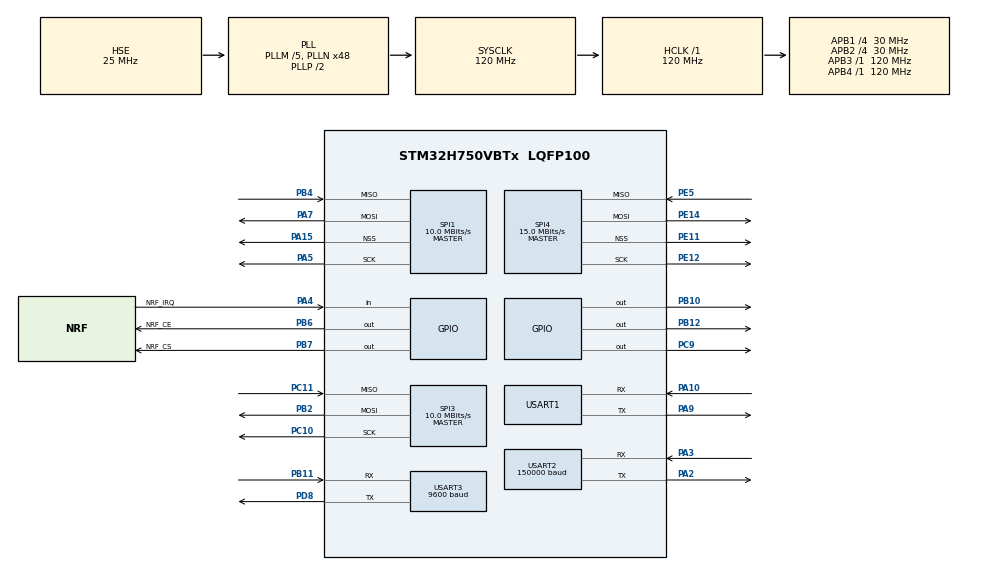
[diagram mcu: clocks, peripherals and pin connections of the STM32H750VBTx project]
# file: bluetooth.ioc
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Mcu.Family=STM32H7
Mcu.Name=STM32H750VBTx
Mcu.Package=LQFP100
NVIC.PriorityGroup=NVIC_PRIORITYGROUP_4
NVIC.USART2_IRQn=true\:0\:0\:false\:false\:true\:true\:true\:true
NVIC.USART3_IRQn=true\:0\:0\:false\:false\:true\:true\:true\:true
PA10.Mode=Asynchronous
PA10.Signal=USART1_RX
PA13\ (JTMS/SWDIO).Mode=Serial_Wire
PA13\ (JTMS/SWDIO).Signal=DEBUG_JTMS-SWDIO
PA14\ (JTCK/SWCLK).Mode=Serial_Wire
PA14\ (JTCK/SWCLK).Signal=DEBUG_JTCK-SWCLK
PA15\ (JTDI).Mode=NSS_Signal_Hard_Output
PA15\ (JTDI).Signal=SPI1_NSS
PA2.Mode=Asynchronous
PA2.Signal=USART2_TX
PA3.Mode=Asynchronous
PA3.Signal=USART2_RX
PA4.GPIO_Label=NRF_IRQ
PA4.GPIO_PuPd=GPIO_PULLUP
PA4.Signal=GPIO_Input
PA5.GPIO_Speed=GPIO_SPEED_FREQ_LOW
PA5.Mode=Full_Duplex_Master
PA5.Signal=SPI1_SCK
PA7.GPIO_Speed=GPIO_SPEED_FREQ_LOW
PA7.Mode=Full_Duplex_Master
PA7.Signal=SPI1_MOSI
PA9.Mode=Asynchronous
PA9.Signal=USART1_TX
PB10.GPIO_ModeDefaultOutputPP=GPIO_MODE_OUTPUT_OD
PB10.GPIO_PuPd=GPIO_PULLUP
PB10.Signal=GPIO_Output
PB11.Mode=Asynchronous
PB11.Signal=USART3_RX
PB12.GPIO_ModeDefaultOutputPP=GPIO_MODE_OUTPUT_OD
PB12.GPIO_PuPd=GPIO_PULLUP
PB12.Signal=GPIO_Output
PB2.Mode=Full_Duplex_Master
PB2.Signal=SPI3_MOSI
PB4\ (NJTRST).Mode=Full_Duplex_Master
PB4\ (NJTRST).Signal=SPI1_MISO
PB6.GPIO_Label=NRF_CE
PB6.GPIO_PuPd=GPIO_PULLUP
PB6.GPIO_Speed=GPIO_SPEED_FREQ_MEDIUM
PB6.Signal=GPIO_Output
PB7.GPIO_Label=NRF_CS
PB7.GPIO_PuPd=GPIO_PULLUP
PB7.GPIO_Speed=GPIO_SPEED_FREQ_MEDIUM
PB7.Signal=GPIO_Output
PC10.Mode=Full_Duplex_Master
PC10.Signal=SPI3_SCK
PC11.Mode=Full_Duplex_Master
PC11.Signal=SPI3_MISO
PC9.GPIO_ModeDefaultOutputPP=GPIO_MODE_OUTPUT_PP
PC9.GPIO_PuPd=GPIO_NOPULL
PC9.Signal=GPIO_Output
PD8.Mode=Asynchronous
PD8.Signal=USART3_TX
PE11.Mode=NSS_Signal_Hard_Output
PE11.Signal=SPI4_NSS
PE12.Mode=Full_Duplex_Master
PE12.Signal=SPI4_SCK
PE14.Mode=Full_Duplex_Master
PE14.Signal=SPI4_MOSI
PE5.Mode=Full_Duplex_Master
PE5.Signal=SPI4_MISO
PH0-OSC_IN\ (PH0).Mode=HSE-External-Oscillator
PH0-OSC_IN\ (PH0).Signal=RCC_OSC_IN
PH1-OSC_OUT\ (PH1).Mode=HSE-External-Oscillator
PH1-OSC_OUT\ (PH1).Signal=RCC_OSC_OUT
ProjectManager.HeapSize=0x200
ProjectManager.StackSize=0x400
ProjectManager.TargetToolchain=Makefile
RCC.ADCFreq_Value=37500000
RCC.APB1Freq_Value=30000000
RCC.APB2Freq_Value=30000000
RCC.APB3Freq_Value=120000000
RCC.APB4Freq_Value=120000000
RCC.CortexFreq_Value=120000000
RCC.D2PPRE1=RCC_APB1_DIV4
RCC.D2PPRE2=RCC_APB2_DIV4
RCC.DIVM1=5
RCC.DIVM2=2
RCC.DIVN1=48
RCC.DIVN2=12
RCC.DIVP2=4
RCC.DIVQ1=3
RCC.HCLKFreq_Value=120000000
RCC.PLL2FRACN=0
RCC.PLL3FRACN=0
RCC.PLLFRACN=0
RCC.PLLSourceVirtual=RCC_PLLSOURCE_HSE
RCC.SYSCLKFreq_VALUE=120000000
RCC.SYSCLKSource=RCC_SYSCLKSOURCE_PLLCLK
RCC.USBFreq_Value=80000000
SPI1.BaudRatePrescaler=SPI_BAUDRATEPRESCALER_8
SPI1.CLKPhase=SPI_PHASE_2EDGE
SPI1.CLKPolarity=SPI_POLARITY_HIGH
SPI1.CalculateBaudRate=10.0 MBits/s
SPI1.DataSize=SPI_DATASIZE_32BIT
SPI1.Direction=SPI_DIRECTION_2LINES
SPI1.Mode=SPI_MODE_MASTER
SPI1.NSSPMode=SPI_NSS_PULSE_DISABLE
SPI1.VirtualNSS=VM_NSSHARD
SPI1.VirtualType=VM_MASTER
SPI3.BaudRatePrescaler=SPI_BAUDRATEPRESCALER_8
SPI3.CLKPhase=SPI_PHASE_2EDGE
SPI3.CLKPolarity=SPI_POLARITY_HIGH
SPI3.CalculateBaudRate=10.0 MBits/s
SPI3.DataSize=SPI_DATASIZE_8BIT
SPI3.Direction=SPI_DIRECTION_2LINES
SPI3.Mode=SPI_MODE_MASTER
SPI3.VirtualType=VM_MASTER
SPI4.CalculateBaudRate=15.0 MBits/s
SPI4.DataSize=SPI_DATASIZE_8BIT
SPI4.Direction=SPI_DIRECTION_2LINES
SPI4.FifoThreshold=SPI_FIFO_THRESHOLD_02DATA
SPI4.Mode=SPI_MODE_MASTER
SPI4.VirtualNSS=VM_NSSHARD
SPI4.VirtualType=VM_MASTER
TIM6.Period=60-1
TIM6.TIM_MasterOutputTrigger=TIM_TRGO_UPDATE
USART1.VirtualMode-Asynchronous=VM_ASYNC
USART2.BaudRate=150000
USART2.VirtualMode-Asynchronous=VM_ASYNC
USART3.BaudRate=9600
USART3.VirtualMode-Asynchronous=VM_ASYNC
VP_TIM6_VS_ClockSourceINT.Mode=Enable_Timer
board=custom

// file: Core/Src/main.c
/* USER CODE BEGIN Header */
/**
  ******************************************************************************
  * @file           : main.c
  * @brief          : Main program body
  ******************************************************************************
  * @attention
  *
  * Copyright (c) 2024 STMicroelectronics.
  * All rights reserved.
  *
  * This software is licensed under terms that can be found in the LICENSE file
  * in the root directory of this software component.
  * If no LICENSE file comes with this software, it is provided AS-IS.
  *
  ******************************************************************************
  */
/* USER CODE END Header */
#include "main.h"
#include "spi.h"
#include "tim.h"
#include "usart.h"
#include "gpio.h"

/* USER CODE BEGIN PTD */
#include "test.h"
#include "lcd_spi_169.h"
#include <stdint.h>
/* USER CODE END PTD */

void SystemClock_Config(void);

/* USER CODE BEGIN 0 */

// usart1-----烧录
// usart2-----用来与上位机调试
// usart3-----用来与蓝牙�?�信
// spi4-------用来与lcd屏�?�信

uint32_t rx_data[1] = {}; //串口接收数组
uint32_t tx_data[1] = {0};
uint32_t count = 0;
uint8_t buffer_index = 0; //串口接收下标
uint8_t rxBuffer[4];  // 假设串口每次接收16字节数据

/* USER CODE END 0 */

int main(void)
{

  /* MCU Configuration--------------------------------------------------------*/

  /* Reset of all peripherals, Initializes the Flash interface and the Systick. */
  HAL_Init();

  /* Configure the system clock */
  SystemClock_Config();

  /* Initialize all configured peripherals */
  MX_GPIO_Init();
  MX_USART2_UART_Init();
  MX_USART1_UART_Init();
  MX_SPI1_Init();
  MX_SPI4_Init();
  MX_TIM6_Init();
  MX_SPI3_Init();
  MX_USART3_UART_Init();
  /* USER CODE BEGIN 2 */
  SPI_LCD_Init();

  HAL_UART_Transmit(&huart3, "hello\r\n", 6, 100);
  HAL_UART_Receive_IT(&huart3, (uint8_t *)rxBuffer, 1);
  /* USER CODE END 2 */

  /* Infinite loop */
  /* USER CODE BEGIN WHILE */
  while (1)
  {
    LCD_DisplayNumber(10, 10, rx_data[0], 5);

    LCD_DrawPoint(230, 250, 0xFFFFFF);

    /* USER CODE END WHILE */

  }
}

void SystemClock_Config(void)
{
  RCC_OscInitTypeDef RCC_OscInitStruct = {0};
  RCC_ClkInitTypeDef RCC_ClkInitStruct = {0};

  /** Supply configuration update enable
  */
  HAL_PWREx_ConfigSupply(PWR_LDO_SUPPLY);

  /** Configure the main internal regulator output voltage
  */
  __HAL_PWR_VOLTAGESCALING_CONFIG(PWR_REGULATOR_VOLTAGE_SCALE3);

  while(!__HAL_PWR_GET_FLAG(PWR_FLAG_VOSRDY)) {}

  /** Initializes the RCC Oscillators according to the specified parameters
  * in the RCC_OscInitTypeDef structure.
  */
  RCC_OscInitStruct.OscillatorType = RCC_OSCILLATORTYPE_HSE;
  RCC_OscInitStruct.HSEState = RCC_HSE_ON;
  RCC_OscInitStruct.PLL.PLLState = RCC_PLL_ON;
  RCC_OscInitStruct.PLL.PLLSource = RCC_PLLSOURCE_HSE;
  RCC_OscInitStruct.PLL.PLLM = 5;
  RCC_OscInitStruct.PLL.PLLN = 48;
  RCC_OscInitStruct.PLL.PLLP = 2;
  RCC_OscInitStruct.PLL.PLLQ = 3;
  RCC_OscInitStruct.PLL.PLLR = 2;
  RCC_OscInitStruct.PLL.PLLRGE = RCC_PLL1VCIRANGE_2;
  RCC_OscInitStruct.PLL.PLLVCOSEL = RCC_PLL1VCOWIDE;
  RCC_OscInitStruct.PLL.PLLFRACN = 0;
  if (HAL_RCC_OscConfig(&RCC_OscInitStruct) != HAL_OK)
  {
    Error_Handler();
  }

  /** Initializes the CPU, AHB and APB buses clocks
  */
  RCC_ClkInitStruct.ClockType = RCC_CLOCKTYPE_HCLK|RCC_CLOCKTYPE_SYSCLK
                              |RCC_CLOCKTYPE_PCLK1|RCC_CLOCKTYPE_PCLK2
                              |RCC_CLOCKTYPE_D3PCLK1|RCC_CLOCKTYPE_D1PCLK1;
  RCC_ClkInitStruct.SYSCLKSource = RCC_SYSCLKSOURCE_PLLCLK;
  RCC_ClkInitStruct.SYSCLKDivider = RCC_SYSCLK_DIV1;
  RCC_ClkInitStruct.AHBCLKDivider = RCC_HCLK_DIV1;
  RCC_ClkInitStruct.APB3CLKDivider = RCC_APB3_DIV1;
  RCC_ClkInitStruct.APB1CLKDivider = RCC_APB1_DIV4;
  RCC_ClkInitStruct.APB2CLKDivider = RCC_APB2_DIV4;
  RCC_ClkInitStruct.APB4CLKDivider = RCC_APB4_DIV1;

  if (HAL_RCC_ClockConfig(&RCC_ClkInitStruct, FLASH_LATENCY_2) != HAL_OK)
  {
    Error_Handler();
  }
}

/* USER CODE BEGIN 4 */
void HAL_UART_RxCpltCallback(UART_HandleTypeDef *huart) {
    if (huart->Instance == USART3) {
      rxBuffer[buffer_index++] = huart->Instance->RDR;
      if (buffer_index == 4){
         buffer_index = 0;
         HAL_UART_Receive_IT(&huart3, rxBuffer, 1);
         count =1;
        }
      else {
        HAL_UART_Receive_IT(&huart3, rxBuffer+buffer_index, 1);

      }
    }

}

/* USER CODE END 4 */

void Error_Handler(void)
{
  __disable_irq();
  while (1)
  {
  }
}
